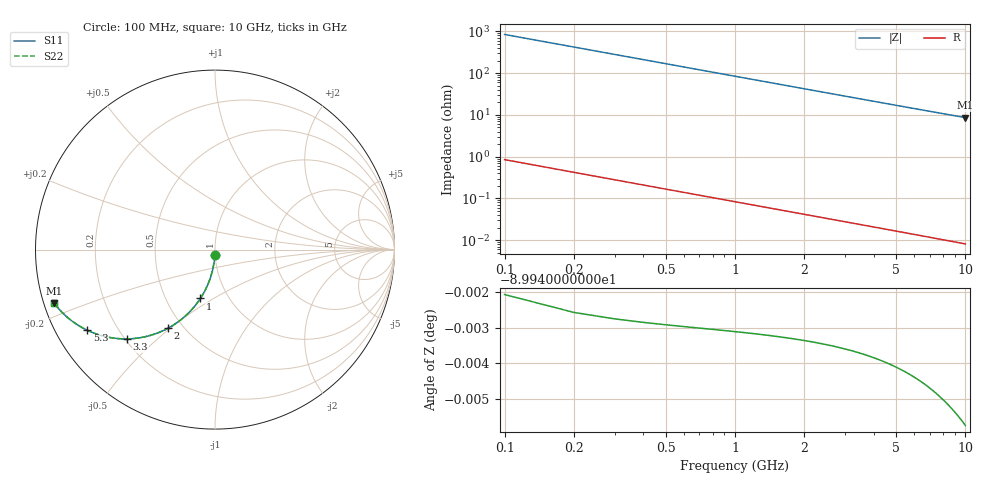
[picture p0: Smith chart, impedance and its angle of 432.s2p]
# Hz S RI R 50.00
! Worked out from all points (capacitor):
!   100 points, 100 MHz to 10 GHz, reference 50 ohm
!   read as one part in shunt: C = 1.89 pF near 100 MHz
!   lowest |Z| = 8.61 ohm at 10 GHz (marker M1)
!   S11 on the Smith chart (normalised r, x): 100 MHz: 1.00, -0.06; 1 GHz: 0.74, -0.44; 2 GHz: 0.42, -0.49; 3.3 GHz: 0.21, -0.40; 5.3 GHz: 0.09, -0.29; 10 GHz: 0.03, -0.16
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1e8  -0.000898 -0.0297  0.9991 -0.0298  0.9991 -0.0298  -0.000898 -0.0297
2e8  -0.00357 -0.0592  0.9964 -0.0594  0.9964 -0.0594  -0.00357 -0.0592
3e8  -0.00797 -0.0883  0.992 -0.0887  0.992 -0.0887  -0.00797 -0.0883
4e8  -0.0141 -0.1171  0.9859 -0.1175  0.9859 -0.1175  -0.0141 -0.1171
5e8  -0.0218 -0.1452  0.9782 -0.1457  0.9782 -0.1457  -0.0218 -0.1452
6e8  -0.031 -0.1725  0.969 -0.1732  0.969 -0.1732  -0.031 -0.1725
7e8  -0.0417 -0.199  0.9583 -0.1999  0.9583 -0.1999  -0.0417 -0.199
8e8  -0.0537 -0.2246  0.9462 -0.2255  0.9462 -0.2255  -0.0537 -0.2246
1e9  -0.0814 -0.2724  0.9185 -0.2736  0.9185 -0.2736  -0.0814 -0.2724
1.2e9  -0.1131 -0.3155  0.8869 -0.3169  0.8869 -0.3169  -0.1131 -0.3155
1.4e9  -0.1478 -0.3536  0.8522 -0.3552  0.8522 -0.3552  -0.1478 -0.3536
1.8e9  -0.2226 -0.4144  0.7774 -0.4165  0.7774 -0.4165  -0.2226 -0.4144
2e9  -0.261 -0.4375  0.7389 -0.4399  0.7389 -0.4399  -0.261 -0.4375
2.6e9  -0.3734 -0.4817  0.6266 -0.4847  0.6266 -0.4847  -0.3734 -0.4817
3.3e9  -0.4892 -0.4974  0.5107 -0.5013  0.5107 -0.5013  -0.4892 -0.4974
3.4e9  -0.5041 -0.4975  0.4959 -0.5015  0.4959 -0.5015  -0.5041 -0.4975
4.2e9  -0.6075 -0.4853  0.3924 -0.4903  0.3924 -0.4903  -0.6075 -0.4853
5.1e9  -0.6949 -0.4569  0.305 -0.4629  0.305 -0.4629  -0.6949 -0.4569
5.3e9  -0.7109 -0.4497  0.289 -0.456  0.289 -0.456  -0.7109 -0.4497
6.7e9  -0.7968 -0.3979  0.2032 -0.4059  0.2032 -0.4059  -0.7968 -0.3979
8.4e9  -0.8602 -0.3412  0.1398 -0.3513  0.1398 -0.3513  -0.8602 -0.3412
1e10  -0.897 -0.2973  0.1029 -0.3094  0.1029 -0.3094  -0.897 -0.2973
